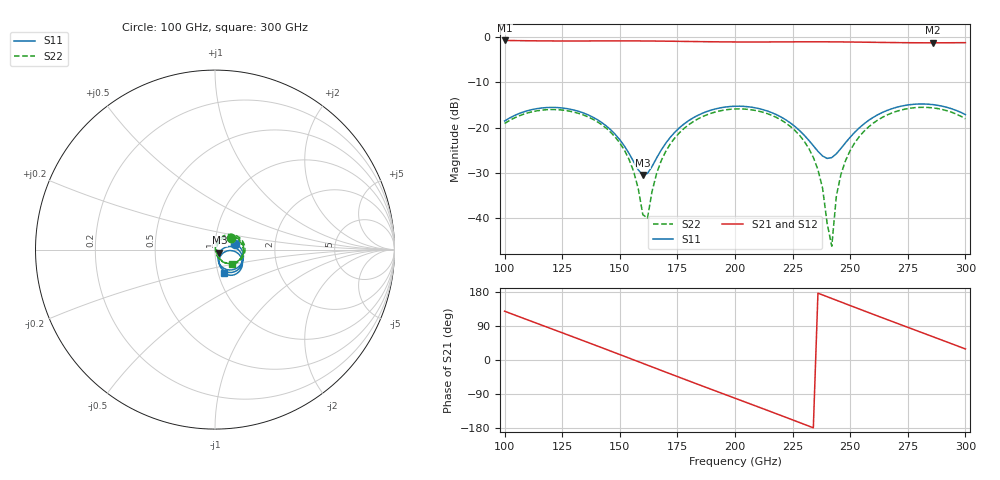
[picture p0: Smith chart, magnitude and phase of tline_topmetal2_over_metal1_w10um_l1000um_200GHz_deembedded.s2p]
! Created with skrf 2.0.1 (http://scikit-rf.org).
# GHz S DB R 50.0
!freq dBS11 angS11 dBS21 angS21 dBS12 angS12 dBS22 angS22
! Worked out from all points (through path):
!   101 points, 100 GHz to 300 GHz, reference 50 ohm
!   highest |S21| = -0.82 dB at 100 GHz (marker M1); lowest = -1.3 dB at 286 GHz (marker M2)
!   group delay of S21, straight-line fit = 6.39 ps
!   lowest |S11| = -30.5 dB at 160 GHz (marker M3), VSWR 1.06, Z = 52.4 - j1.87 ohm
!   |S11| at or under -10 dB: start of sweep to end of sweep
!   |S22| runs from -46.1 to -15.5 dB; largest |S21 - S12| = 1e-13
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100  -18.55 15.9  -0.82 128.7  -0.82 128.7  -19.11 36.9
116  -15.70 -15.6  -0.91 92.3  -0.91 92.3  -16.18 6.1
134  -16.75 -51.2  -0.93 51.3  -0.93 51.3  -17.20 -29.9
144  -19.60 -68.0  -0.92 28.3  -0.92 28.3  -20.10 -49.5
152  -24.08 -73.5  -0.91 9.7  -0.91 9.7  -24.99 -62.8
156  -27.52 -65.7  -0.92 0.4  -0.92 0.4  -29.67 -65.2
160  -30.47 -36.6  -0.93 -8.9  -0.93 -8.9  -39.19 -38.6
162  -30.12 -16.2  -0.93 -13.5  -0.93 -13.5  -39.97 29.9
164  -28.57 -1.0  -0.94 -18.2  -0.94 -18.2  -34.07 57.5
168  -24.94 11.6  -0.96 -27.5  -0.96 -27.5  -27.28 62.8
180  -18.44 3.3  -1.04 -55.2  -1.04 -55.2  -19.35 43.7
200  -15.31 -32.1  -1.15 -100.9  -1.15 -100.9  -15.91 2.7
220  -17.69 -66.0  -1.13 -146.5  -1.13 -146.5  -18.34 -39.9
234  -24.02 -69.0  -1.11 -179.0  -1.11 -179.0  -26.58 -69.3
238  -26.27 -54.0  -1.12 171.7  -1.12 171.7  -33.32 -75.4
242  -26.62 -29.2  -1.13 162.4  -1.13 162.4  -46.14 66.4
244  -25.77 -18.5  -1.13 157.7  -1.13 157.7  -35.06 79.3
248  -23.33 -6.4  -1.15 148.4  -1.15 148.4  -27.26 74.2
256  -19.18 -5.2  -1.20 129.8  -1.20 129.8  -20.82 57.6
268  -15.87 -20.6  -1.28 102.2  -1.28 102.2  -16.81 31.2
286  -14.96 -49.9  -1.33 61.2  -1.33 61.2  -15.68 -9.0
300  -17.15 -69.2  -1.30 29.1  -1.30 29.1  -18.08 -41.4
